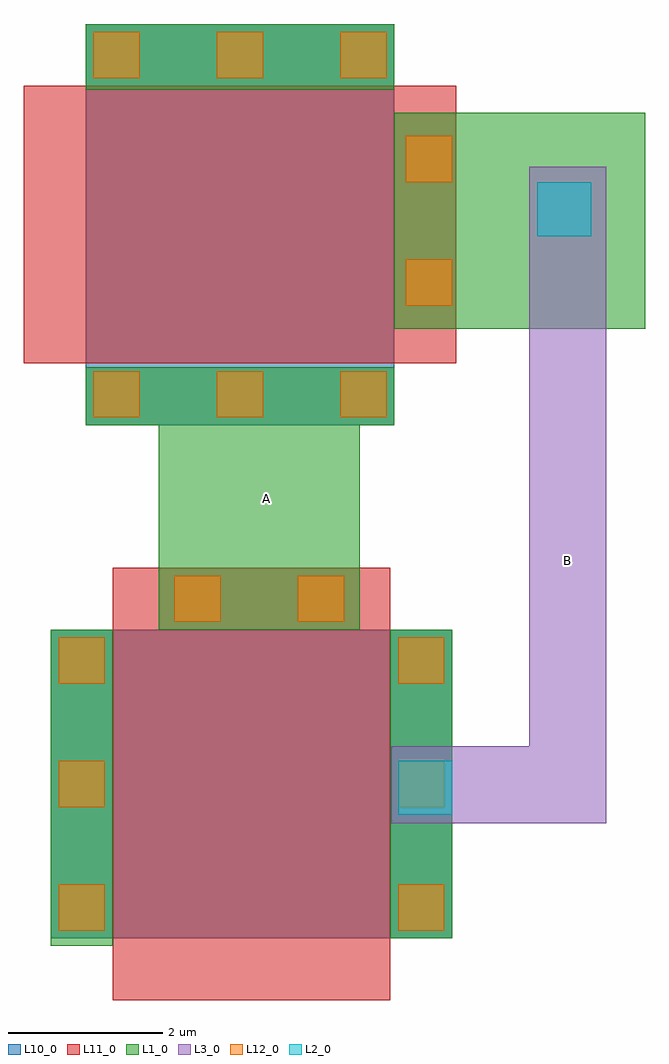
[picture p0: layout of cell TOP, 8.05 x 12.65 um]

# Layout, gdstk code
from math import pi, radians
import gdstk
lib = gdstk.Library(unit=1e-6, precision=1e-09)
def R(c, l, rs):  # rectangles x0, y0, x1, y1
    for r in rs: c.add(gdstk.rectangle(r[:2], r[2:], *l))
def A(c, l, x, y, w, h, nx, ny, dx, dy):  # array of equal rectangles
    R(c, l, [(x+i*dx, y+j*dy, x+i*dx+w, y+j*dy+h) for i in range(nx) for j in range(ny)])
L1_0 = (1, 0)
L2_0 = (2, 0)
L3_0 = (3, 0)
L10_0 = (10, 0)
L11_0 = (11, 0)
L12_0 = (12, 0)

c_a = lib.new_cell('A')
R(c_a, L10_0, [(-2,-2.5,2,2.7)])
R(c_a, L11_0, [(-2.8,-1.7,2.8,1.9)])
A(c_a, L12_0, -1.9, -2.4, 0.6, 0.6, 3, 1, 1.6, 0)
R(c_a, L12_0, [(-1.9,2,-1.3,2.6), (-1.9,2,-1.3,2.6), (-0.3,2,0.3,2.6), (-0.3,2,0.3,2.6), (1.3,2,1.9,2.6), (1.3,2,1.9,2.6)])

c_aa = lib.new_cell('AA')
r = gdstk.Reference(c_a, (0.75,0.75), rotation=pi); r.repetition = gdstk.Repetition(1, 1, v1=(0,0), v2=(0,0)); c_aa.add(r)

top = lib.new_cell('TOP')
R(top, L1_0, [(-2.8,-2.8,-2,1.3), (1.6,-2.7,2.4,1.3), (-1.4,1.3,1.2,4.3), (-2.35,3.95,1.65,4.7), (1.65,5.2,4.9,8), (-2.35,8.3,1.65,9.15)])
R(top, L2_0, [(1.7,-1.1,2.4,-0.4), (3.5,6.4,4.2,7.1)])
R(top, L12_0, [(-1.2,1.4,-0.6,2), (0.4,1.4,1,2), (1.8,5.5,2.4,6.1), (1.8,7.1,2.4,7.7)])
top.add(gdstk.FlexPath([(1.61,-0.71),(3.9,-0.71),(3.9,7.3)], 1, ends="flush", simple_path=True, layer=3, datatype=0))  # L3_0
r = gdstk.Reference(c_aa, (-1.1,5.9)); r.repetition = gdstk.Repetition(1, 1, v1=(0,0), v2=(0,0)); top.add(r)
r = gdstk.Reference(c_a, (-0.1,-0.7), rotation=pi/2); r.repetition = gdstk.Repetition(1, 1, v1=(0,0), v2=(0,0)); top.add(r)
top.add(gdstk.Label('A', (0,3), layer=1, texttype=0))
top.add(gdstk.Label('B', (3.9,2.2), layer=3, texttype=0))

lib.write_gds('TOP.gds')
